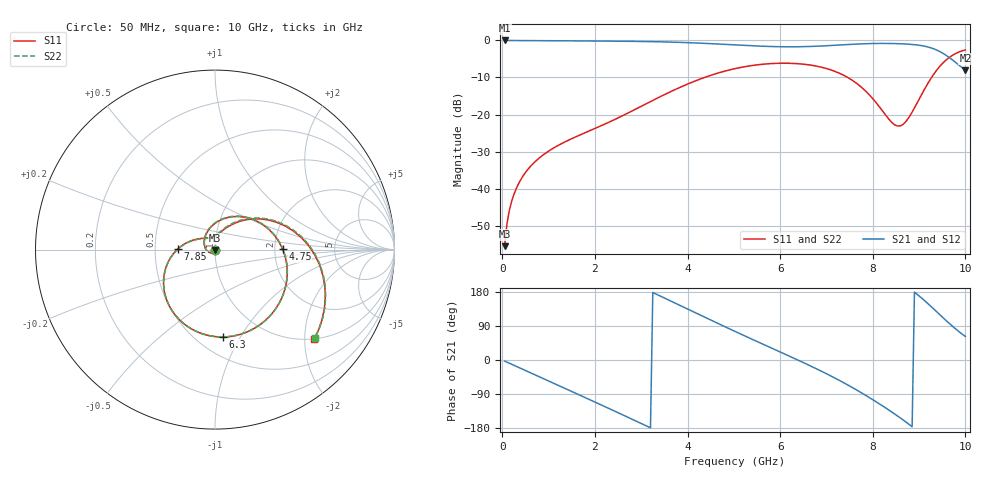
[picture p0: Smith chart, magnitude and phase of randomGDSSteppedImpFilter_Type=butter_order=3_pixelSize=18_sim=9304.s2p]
! freq	dB(S11)	phase(S11)	dB(S12)	phase(S12)
!  dB(S21)	phase(S21)	dB(S22)	phase(S22)
!S-par simulation data
#  GHz  S  DB  R 50
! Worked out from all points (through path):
!   200 points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, 50 MHz to 10 GHz, reference 50 ohm
!   highest |S21| = -0.01 dB at 50 MHz (marker M1); lowest = -8.1 dB at 10 GHz (marker M2)
!   group delay of S21, straight-line fit = 172 ps
!   lowest |S11| = -55.6 dB at 50 MHz (marker M3), VSWR 1.00, Z = 50 - j0.167 ohm
!   |S11| at or under -10 dB: start of sweep to 4.367 GHz; 7.459 GHz to 9.27 GHz (1.811 GHz wide, 21.6 % of centre)
!   |S22| runs from -55.6 to -2.6 dB; largest |S21 - S12| = 0
!   S11 on the Smith chart (normalised r, x): 50 MHz: 1.00, -0.00; 4.75 GHz: 2.21, +0.01; 6.3 GHz: 0.66, -0.85; 7.85 GHz: 0.66, +0.01; 10 GHz: 0.99, -2.22
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0.05  -55.56 -89.5  -0.01 -2.8  -0.01 -2.8  -55.55 -89.5
0.1  -49.55 -94.0  -0.01 -5.7  -0.01 -5.7  -49.55 -93.9
0.2  -43.54 -100.6  -0.03 -11.2  -0.03 -11.2  -43.54 -100.4
0.5  -35.67 -118.3  -0.05 -27.7  -0.05 -27.7  -35.67 -117.7
1.15  -28.74 -155.8  -0.08 -63.6  -0.08 -63.6  -28.74 -154.5
1.75  -25.13 169.7  -0.13 -97.0  -0.13 -97.0  -25.14 171.4
2.65  -20.00 119.1  -0.22 -147.6  -0.22 -147.6  -20.01 120.9
3.4  -15.26 76.8  -0.37 169.5  -0.37 169.5  -15.26 78.2
4.15  -11.02 34.2  -0.66 125.9  -0.66 125.9  -11.02 35.1
4.75  -8.47 0.2  -1.02 91.2  -1.02 91.2  -8.48 0.8
5.05  -7.55 -16.6  -1.23 74.1  -1.23 74.1  -7.55 -16.1
5.7  -6.34 -52.2  -1.60 37.7  -1.60 37.7  -6.34 -51.9
6.3  -6.22 -84.8  -1.72 4.5  -1.72 4.5  -6.22 -84.5
6.7  -6.74 -107.1  -1.61 -18.3  -1.61 -18.3  -6.74 -106.9
7.25  -8.69 -140.1  -1.26 -52.0  -1.26 -52.0  -8.69 -139.9
7.85  -13.73 178.6  -0.88 -93.4  -0.88 -93.4  -13.72 179.1
8.35  -21.30 132.2  -0.81 -132.2  -0.81 -132.2  -21.30 134.3
8.6  -23.04 98.0  -0.90 -153.3  -0.90 -153.3  -23.15 101.3
8.9  -18.23 66.0  -1.14 179.1  -1.14 179.1  -18.35 68.6
9.35  -8.54 24.1  -2.43 130.8  -2.43 130.8  -8.57 25.3
9.7  -4.18 -13.5  -5.06 91.2  -5.06 91.2  -4.19 -12.7
10  -2.56 -42.2  -8.06 62.0  -8.06 62.0  -2.57 -41.7
